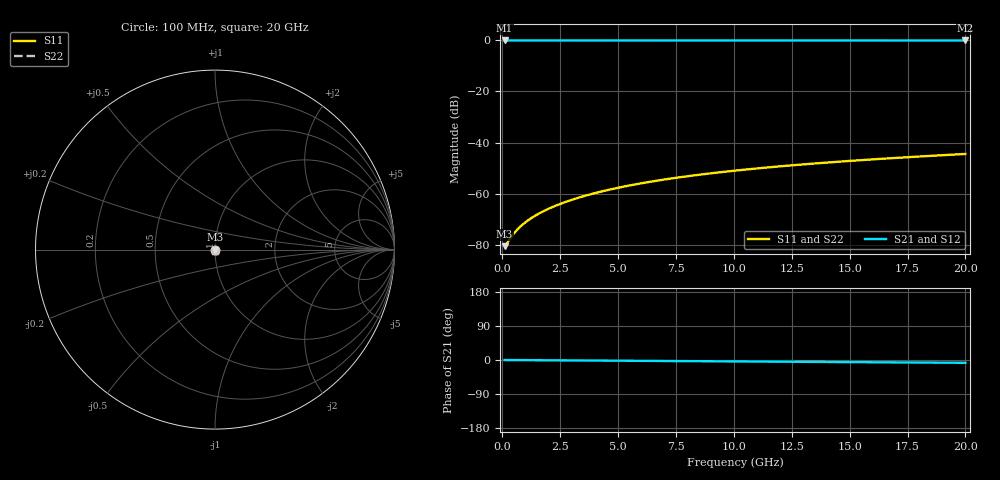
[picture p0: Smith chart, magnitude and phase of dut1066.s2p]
! Touchstone file exported from HFSS 2026.1.0
!  File:  C:/ffzhzh/LocalFiles/Ansys_Project_Files/temp_train_TSV_1066_1783189797_18472.aedt
!  Generated:  02:31:26 AM Jul  5, 2026
!  Design:  TSV
!  Project:  temp_train_TSV_1066_1783189797_18472
! Variables:
!  h_bsmrdl = 2um
!  h_ox = 20um
!  h_rdl = 5um
!  h_sub = 73.38um
!  h_tmrdl = 5um
!  h_tsv = 73.38um
!  h_via = 3um
!  l_bsmrdl = 300um
!  l_sub = 423.9um
!  l_tmrdl = 200um
!  m_sub = 200um
!  pitch = 45.65um
!  r_tsv = 11.95um
!  s_tmrdl = 10um
!  w_bsmrdl = 18um
!  w_sub = 500um
!  w_tmrdl = 12um
!  x_tsv_center1 = 206um
!  x_tsv_center2 = 524um
!  x_tsv_center3 = 736um
!  x_tsv_center4 = 1054um
!  x_tsv_center5 = 1266um
!  x_tsv_center6 = 1584um
# GHz S MA R 50.000000
! Terminal data exported
! Port[1] = TSV1_1_T1
! Port[2] = TSV1_1_T2
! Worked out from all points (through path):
!   200 points, 100 MHz to 20 GHz, reference 50 ohm
!   highest |S21| = 0.00 dB at 100 MHz (marker M1); lowest = 0.0 dB at 20 GHz (marker M2)
!   group delay of S21, straight-line fit = 1.03 ps
!   lowest |S11| = -80.6 dB at 100 MHz (marker M3), VSWR 1.00, Z = 50 + j0.000986 ohm
!   |S11| at or under -10 dB: start of sweep to end of sweep
!   |S22| runs from -80.6 to -44.5 dB; largest |S21 - S12| = 2.4e-15
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0.1  9.313e-05 6.1  0.9999 -0.0  0.9999 -0.0  9.313e-05 6.1
! Gamma 0 0 0 0
! Port Impedance 50 0 50 0
0.2  0.0001056 9.2  0.9999 -0.1  0.9999 -0.1  0.0001056 9.2
0.4  0.0001431 6.0  0.9999 -0.2  0.9999 -0.2  0.0001431 6.0
0.5  0.0001643 1.8  0.9998 -0.2  0.9998 -0.2  0.0001643 1.8
0.6  0.000186 -2.9  0.9998 -0.2  0.9998 -0.2  0.000186 -2.9
0.8  0.0002298 -12.4  0.9998 -0.3  0.9998 -0.3  0.0002298 -12.3
1.1  0.0002962 -24.6  0.9997 -0.4  0.9997 -0.4  0.0002962 -24.6
1.4  0.0003639 -34.0  0.9997 -0.5  0.9997 -0.5  0.0003639 -34.0
1.8  0.0004567 -43.0  0.9997 -0.7  0.9997 -0.7  0.0004567 -43.0
2.3  0.0005771 -50.7  0.9996 -0.9  0.9996 -0.9  0.0005771 -50.7
2.9  0.0007277 -56.8  0.9996 -1.1  0.9996 -1.1  0.0007278 -56.8
3.5  0.0008846 -61.0  0.9996 -1.3  0.9996 -1.3  0.0008846 -61.0
4.2  0.001074 -64.6  0.9995 -1.6  0.9995 -1.6  0.001074 -64.6
5  0.001299 -67.7  0.9995 -1.9  0.9995 -1.9  0.001299 -67.6
5.9  0.001559 -70.3  0.9994 -2.2  0.9994 -2.2  0.001559 -70.3
6.8  0.001825 -72.5  0.9994 -2.5  0.9994 -2.5  0.001825 -72.5
8.3  0.002277 -75.4  0.9993 -3.1  0.9993 -3.1  0.002277 -75.4
10.1  0.002828 -78.1  0.9992 -3.8  0.9992 -3.8  0.002829 -78.1
11.7  0.003324 -80.1  0.9992 -4.4  0.9992 -4.4  0.003324 -80.1
13.4  0.003856 -81.9  0.9991 -5.0  0.9991 -5.0  0.003856 -81.9
16.7  0.004902 -84.7  0.999 -6.2  0.999 -6.2  0.004902 -84.7
20  0.005972 -87.0  0.9989 -7.4  0.9989 -7.4  0.005972 -87.0
